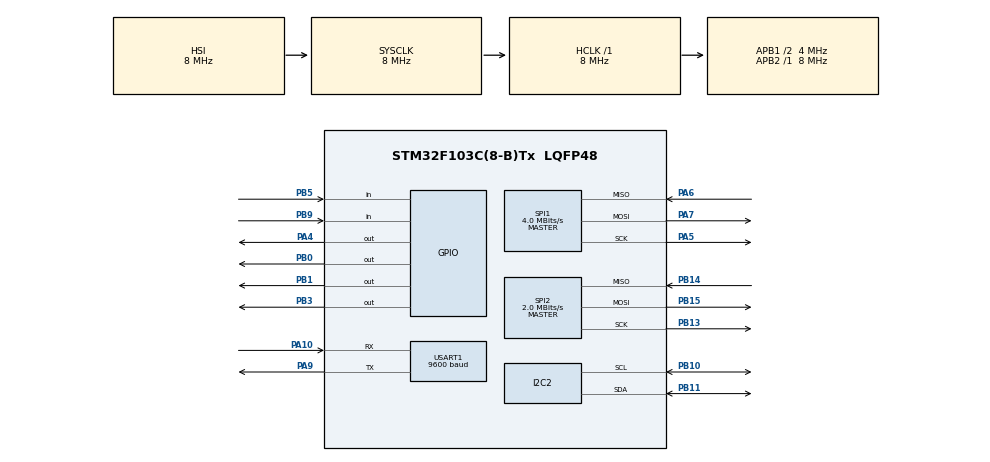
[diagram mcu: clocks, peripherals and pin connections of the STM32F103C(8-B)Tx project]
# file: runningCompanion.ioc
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FATFS._MAX_SS=4096
FATFS._USE_LFN=1
Mcu.Family=STM32F1
Mcu.Name=STM32F103C(8-B)Tx
Mcu.Package=LQFP48
NVIC.PriorityGroup=NVIC_PRIORITYGROUP_4
NVIC.TIM4_IRQn=true\:0\:0\:false\:false\:true\:true\:true\:true
NVIC.USART1_IRQn=true\:0\:0\:false\:false\:true\:true\:true\:true
PA10.Mode=Asynchronous
PA10.Signal=USART1_RX
PA13.Mode=Serial_Wire
PA13.Signal=SYS_JTMS-SWDIO
PA14.Mode=Serial_Wire
PA14.Signal=SYS_JTCK-SWCLK
PA4.Signal=GPIO_Output
PA5.Mode=Full_Duplex_Master
PA5.Signal=SPI1_SCK
PA6.Mode=Full_Duplex_Master
PA6.Signal=SPI1_MISO
PA7.Mode=Full_Duplex_Master
PA7.Signal=SPI1_MOSI
PA9.Mode=Asynchronous
PA9.Signal=USART1_TX
PB0.Signal=GPIO_Output
PB1.Signal=GPIO_Output
PB10.Mode=I2C
PB10.Signal=I2C2_SCL
PB11.Mode=I2C
PB11.Signal=I2C2_SDA
PB13.Mode=Full_Duplex_Master
PB13.Signal=SPI2_SCK
PB14.Mode=Full_Duplex_Master
PB14.Signal=SPI2_MISO
PB15.Mode=Full_Duplex_Master
PB15.Signal=SPI2_MOSI
PB3.Signal=GPIO_Output
PB5.Signal=GPIO_Input
PB9.GPIO_PuPd=GPIO_PULLUP
PB9.Signal=GPIO_Input
PD0-OSC_IN.Mode=HSE-External-Oscillator
PD0-OSC_IN.Signal=RCC_OSC_IN
PD1-OSC_OUT.Mode=HSE-External-Oscillator
PD1-OSC_OUT.Signal=RCC_OSC_OUT
ProjectManager.HeapSize=0x200
ProjectManager.StackSize=0x400
ProjectManager.TargetToolchain=STM32CubeIDE
RCC.AHBFreq_Value=8000000
RCC.APB1CLKDivider=RCC_HCLK_DIV2
RCC.APB1Freq_Value=4000000
RCC.APB1TimFreq_Value=8000000
RCC.APB2Freq_Value=8000000
RCC.APB2TimFreq_Value=8000000
RCC.HCLKFreq_Value=8000000
RCC.PLLSourceVirtual=RCC_PLLSOURCE_HSE
RCC.SYSCLKFreq_VALUE=8000000
RCC.USBFreq_Value=16000000
SPI1.BaudRatePrescaler=SPI_BAUDRATEPRESCALER_2
SPI1.CalculateBaudRate=4.0 MBits/s
SPI1.Direction=SPI_DIRECTION_2LINES
SPI1.FirstBit=SPI_FIRSTBIT_MSB
SPI1.Mode=SPI_MODE_MASTER
SPI1.VirtualType=VM_MASTER
SPI2.BaudRatePrescaler=SPI_BAUDRATEPRESCALER_2
SPI2.CalculateBaudRate=2.0 MBits/s
SPI2.Direction=SPI_DIRECTION_2LINES
SPI2.Mode=SPI_MODE_MASTER
SPI2.VirtualType=VM_MASTER
TIM4.Period=999
TIM4.Prescaler=7999
USART1.BaudRate=9600
USART1.VirtualMode=VM_ASYNC
VP_FATFS_VS_Generic.Mode=User_defined
VP_TIM4_VS_ClockSourceINT.Mode=Internal
board=custom

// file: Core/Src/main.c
/* USER CODE BEGIN Header */
/**
  ******************************************************************************
  * @file           : main.c
  * @brief          : Main program body
  ******************************************************************************
  * @attention
  *
  * Copyright (c) 2025 STMicroelectronics.
  * All rights reserved.
  *
  * This software is licensed under terms that can be found in the LICENSE file
  * in the root directory of this software component.
  * If no LICENSE file comes with this software, it is provided AS-IS.
  *
  ******************************************************************************
  */
/* USER CODE END Header */
#include "main.h"
#include "fatfs.h"
#include "i2c.h"
#include "spi.h"
#include "tim.h"
#include "usart.h"
#include "gpio.h"

/* USER CODE BEGIN Includes */
#include "gps.h"
#include "mpu6050.h"
#include <string.h>
#include "st7735.h"
#include "GFX_FUNCTIONS.h"
#include "fonts.h"

/* USER CODE END Includes */

/* USER CODE BEGIN PD */
FATFS fs;
FIL fil;
/* USER CODE END PD */

/* USER CODE BEGIN PV */
uint8_t rxByte;

/* USER CODE END PV */

void SystemClock_Config(void);

/* USER CODE BEGIN 0 */
void HAL_UART_RxCpltCallback(UART_HandleTypeDef *huart) {
    if (huart->Instance == USART1) {
        gpsProcessByte(rxByte);            // feed GPS parser
        HAL_UART_Receive_IT(&huart1, &rxByte, 1); // re-enable interrupt
    }
}
/* USER CODE END 0 */

int main(void)
{

  /* MCU Configuration--------------------------------------------------------*/

  /* Reset of all peripherals, Initializes the Flash interface and the Systick. */
  HAL_Init();

  /* Configure the system clock */
  SystemClock_Config();

  /* Initialize all configured peripherals */
  MX_GPIO_Init();
  MX_I2C2_Init();
  MX_SPI1_Init();
  MX_USART1_UART_Init();
  MX_FATFS_Init();
  MX_SPI2_Init();
  MX_TIM4_Init();
  /* USER CODE BEGIN 2 */

  systemState_Init();

  /* USER CODE END 2 */

  /* Infinite loop */
  /* USER CODE BEGIN WHILE */
  while (1)
  {

	systemState_Run();

    /* USER CODE END WHILE */

  }
}

void SystemClock_Config(void)
{
  RCC_OscInitTypeDef RCC_OscInitStruct = {0};
  RCC_ClkInitTypeDef RCC_ClkInitStruct = {0};

  /** Initializes the RCC Oscillators according to the specified parameters
  * in the RCC_OscInitTypeDef structure.
  */
  RCC_OscInitStruct.OscillatorType = RCC_OSCILLATORTYPE_HSI;
  RCC_OscInitStruct.HSIState = RCC_HSI_ON;
  RCC_OscInitStruct.HSICalibrationValue = RCC_HSICALIBRATION_DEFAULT;
  RCC_OscInitStruct.PLL.PLLState = RCC_PLL_NONE;
  if (HAL_RCC_OscConfig(&RCC_OscInitStruct) != HAL_OK)
  {
    Error_Handler();
  }

  /** Initializes the CPU, AHB and APB buses clocks
  */
  RCC_ClkInitStruct.ClockType = RCC_CLOCKTYPE_HCLK|RCC_CLOCKTYPE_SYSCLK
                              |RCC_CLOCKTYPE_PCLK1|RCC_CLOCKTYPE_PCLK2;
  RCC_ClkInitStruct.SYSCLKSource = RCC_SYSCLKSOURCE_HSI;
  RCC_ClkInitStruct.AHBCLKDivider = RCC_SYSCLK_DIV1;
  RCC_ClkInitStruct.APB1CLKDivider = RCC_HCLK_DIV2;
  RCC_ClkInitStruct.APB2CLKDivider = RCC_HCLK_DIV1;

  if (HAL_RCC_ClockConfig(&RCC_ClkInitStruct, FLASH_LATENCY_0) != HAL_OK)
  {
    Error_Handler();
  }
}

void Error_Handler(void)
{
  __disable_irq();
  while (1)
  {
  }
}
